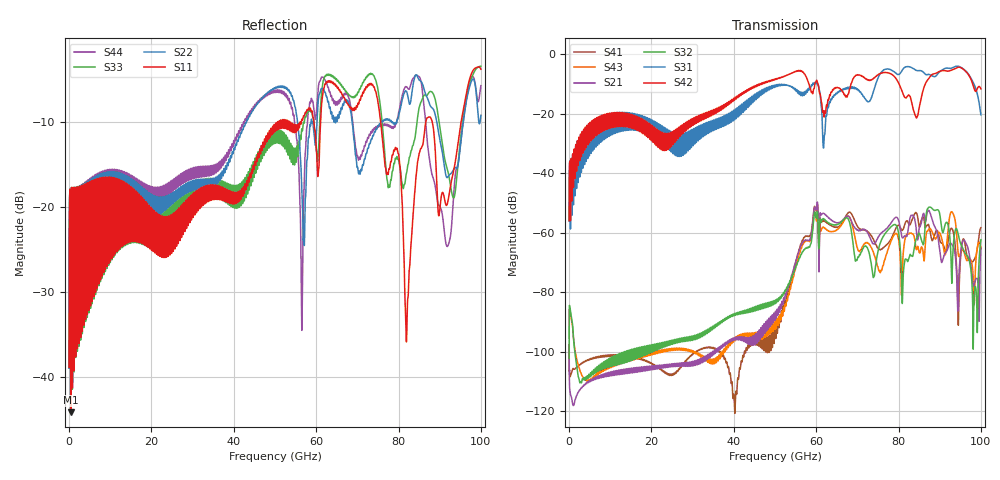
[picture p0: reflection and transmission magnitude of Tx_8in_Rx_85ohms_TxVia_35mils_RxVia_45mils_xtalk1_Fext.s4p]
! Info: Touchstone file created by Circ.  Input file=Tx_8in_Rx_85ohms_TxVia_35mils_RxVia_45mils.circ
# Hz S RI R 50
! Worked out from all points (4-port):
!   10000 points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, 10 MHz to 100 GHz, reference 50 ohm
!   strongest paths, dB at 10 MHz, 25.01 GHz, 50.01 GHz, 75.01 GHz, 100 GHz:
!     S42: -56.0, -26.5, -8.4, -7.0, -11.7
!     S31: -56.0, -26.2, -10.4, -8.1, -20.4
!     S32: -102.3, -97.5, -83.6, -66.3, -62.4
!     S21: -98.4, -105.1, -88.4, -61.6, -65.2
!     S43: -95.5, -99.6, -90.9, -71.6, -65.3
!     S41: -97.6, -107.5, -91.7, -65.2, -58.4
!   lowest |S11| = -44.2 dB at 400 MHz (marker M1), VSWR 1.01, Z = 49.4 - j0.187 ohm
!   |S11| at or under -10 dB: start of sweep to 50.63 GHz; 75.66 GHz to 86.64 GHz (10.98 GHz wide, 13.5 % of centre); 88.18 GHz to 95.21 GHz (7.034 GHz wide, 7.67 % of centre)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
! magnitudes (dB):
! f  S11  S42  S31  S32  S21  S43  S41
! 10 MHz  -38.9  -56.0  -56.0  -102.3  -98.4  -95.5  -97.6
! 400 MHz  -44.2  -41.4  -41.5  -86.9  -114.8  -87.8  -107.8
! 59.9 GHz  -12.2  -9.5  -9.9  -54.2  -52.2  -54.6  -52.2
! 73.29 GHz  -5.5  -8.7  -15.1  -69.6  -62.6  -64.9  -61.0
! 81.97 GHz  -35.5  -14.5  -4.2  -69.0  -61.3  -60.6  -56.1
! 91.89 GHz  -19.6  -5.8  -4.7  -56.9  -65.7  -60.9  -64.1
! 100 GHz  -3.8  -11.7  -20.4  -62.4  -65.2  -65.3  -58.4
